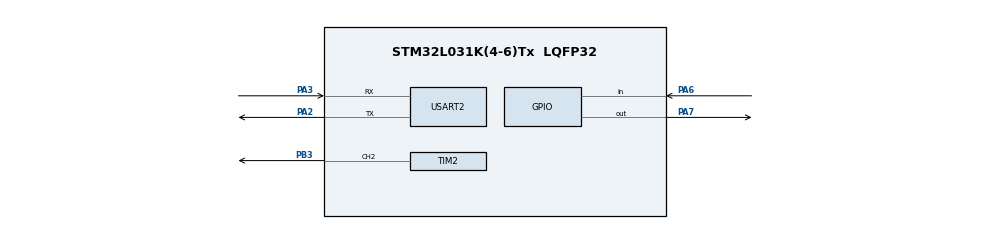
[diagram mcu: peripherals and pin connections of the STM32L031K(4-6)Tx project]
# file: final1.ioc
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Mcu.Family=STM32L0
Mcu.Name=STM32L031K(4-6)Tx
Mcu.Package=LQFP32
NVIC.USART2_IRQn=true\:0\:0\:false\:false\:true\:true\:true\:true
PA2.Mode=Asynchronous
PA2.Signal=USART2_TX
PA3.Mode=Asynchronous
PA3.Signal=USART2_RX
PA6.Signal=GPIO_Input
PA7.Signal=GPIO_Output
PB3.Signal=S_TIM2_CH2
ProjectManager.HeapSize=0x200
ProjectManager.StackSize=0x400
ProjectManager.TargetToolchain=STM32CubeIDE
RCC.AHBFreq_Value=32000000
RCC.APB1Freq_Value=32000000
RCC.APB1TimFreq_Value=32000000
RCC.APB2Freq_Value=32000000
RCC.APB2TimFreq_Value=32000000
RCC.HCLKFreq_Value=32000000
RCC.HSE_VALUE=8000000
RCC.HSI16_VALUE=16000000
RCC.HSI48_VALUE=48000000
RCC.HSI_VALUE=16000000
RCC.MSI_VALUE=2097000
RCC.PLLMUL=RCC_PLLMUL_4
RCC.SYSCLKFreq_VALUE=32000000
RCC.SYSCLKSource=RCC_SYSCLKSOURCE_PLLCLK
RCC.VCOOutputFreq_Value=64000000
SH.S_TIM2_CH2.0=TIM2_CH2,PWM Generation2 CH2
TIM2.Channel-PWM\ Generation2\ CH2=TIM_CHANNEL_2
USART2.VirtualMode-Asynchronous=VM_ASYNC
VP_TIM21_VS_ClockSourceINT.Mode=Internal
board=NUCLEO-L031K6

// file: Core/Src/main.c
/* USER CODE BEGIN Header */
/**
 ******************************************************************************
 * @file           : main.c
 * @brief          : Main program body
 ******************************************************************************
 * @attention
 *
 * Copyright (c) 2024 STMicroelectronics.
 * All rights reserved.
 *
 * This software is licensed under terms that can be found in the LICENSE file
 * in the root directory of this software component.
 * If no LICENSE file comes with this software, it is provided AS-IS.
 *
 ******************************************************************************
 */
/* USER CODE END Header */
#include "main.h"

/* USER CODE BEGIN Includes */
#include <stdio.h>
#include <string.h>
#include <math.h>
#include <stdlib.h>

/* USER CODE END Includes */

TIM_HandleTypeDef htim2;
TIM_HandleTypeDef htim21;

UART_HandleTypeDef huart2;

/* USER CODE BEGIN PV */
#define TRIG_PIN GPIO_PIN_7
#define TRIG_PORT GPIOA
#define ECHO_PIN GPIO_PIN_6
#define ECHO_PORT GPIOA
//#define buzzer_pin GPIO_PIN_5
//#define buzzer_port GPIOA
uint32_t pMillis;
uint32_t Value1 = 0;
uint32_t Value2 = 0;
uint16_t Distance = 0;  // cm
uint16_t raw = 0;
char msg[20];
uint8_t rxData[20];  // Buffer untuk menerima data
uint8_t rxIndex = 0; // Index untuk buffer
uint8_t dataComplete = 0; // Flag untuk data lengkap
uint16_t receivedValue = 0;
uint16_t out;
/* USER CODE END PV */

void SystemClock_Config(void);
static void MX_GPIO_Init(void);
static void MX_USART2_UART_Init(void);
static void MX_TIM21_Init(void);
static void MX_TIM2_Init(void);

int main(void) {

	/* MCU Configuration--------------------------------------------------------*/

	/* Reset of all peripherals, Initializes the Flash interface and the Systick. */
	HAL_Init();

	/* Configure the system clock */
	SystemClock_Config();

	/* Initialize all configured peripherals */
	MX_GPIO_Init();
	MX_USART2_UART_Init();
	MX_TIM21_Init();
	MX_TIM2_Init();
	/* USER CODE BEGIN 2 */
	HAL_TIM_Base_Start(&htim21);
	HAL_UART_Receive_IT(&huart2, &rxData[0], 1);
	HAL_GPIO_WritePin(TRIG_PORT, TRIG_PIN, GPIO_PIN_RESET); // pull the TRIG pin low
	/* USER CODE END 2 */

	/* Infinite loop */
	while (1) {

		/* USER CODE BEGIN 3 */
		HAL_GPIO_WritePin(TRIG_PORT, TRIG_PIN, GPIO_PIN_SET); // pull the TRIG pin HIGH
		__HAL_TIM_SET_COUNTER(&htim21, 0);
		while (__HAL_TIM_GET_COUNTER (&htim21) < 10)
			;  // wait for 10 us
		HAL_GPIO_WritePin(TRIG_PORT, TRIG_PIN, GPIO_PIN_RESET); // pull the TRIG pin low

		pMillis = HAL_GetTick(); // used this to avoid infinite while loop  (for timeout)
		// wait for the echo pin to go high
		while (!(HAL_GPIO_ReadPin(ECHO_PORT, ECHO_PIN))
				&& pMillis + 10 > HAL_GetTick())
			;
		Value1 = __HAL_TIM_GET_COUNTER(&htim21);

		pMillis = HAL_GetTick(); // used this to avoid infinite while loop (for timeout)
		// wait for the echo pin to go low
		while ((HAL_GPIO_ReadPin(ECHO_PORT, ECHO_PIN))
				&& pMillis + 50 > HAL_GetTick())
			;
		Value2 = __HAL_TIM_GET_COUNTER(&htim21);

		//	raw = Value2-Value1;
		Distance = (Value2 - Value1) * 0.32;
		if (Distance < 5) {
			out = 1;
		}
		else {
			out = 0;
		}
		snprintf(msg, sizeof(msg), "%u\n", out);
		HAL_UART_Transmit_IT(&huart2, (uint8_t*) msg, strlen(msg));
		HAL_Delay(5);

	    if (dataComplete) {
	        dataComplete = 0;

	        if (receivedValue == 1) {
	            // When distance is less than 5 cm, send 1
	            HAL_TIM_PWM_Start(&htim2, TIM_CHANNEL_2);
	            __HAL_TIM_SET_AUTORELOAD(&htim2, 5);
	            __HAL_TIM_SET_COMPARE(&htim2, TIM_CHANNEL_2, 5);
	            HAL_Delay(500);
	            HAL_TIM_PWM_Stop(&htim2, TIM_CHANNEL_2);
	        } else {
	            // When distance is greater than 5 cm, send 0
	            HAL_TIM_PWM_Stop(&htim2, TIM_CHANNEL_2);
	        }
	    }

	}
}

	/* USER CODE END 3 */

	/**
	 * @brief System Clock Configuration
	 * @retval None
	 */
	void SystemClock_Config(void) {
		RCC_OscInitTypeDef RCC_OscInitStruct = { 0 };
		RCC_ClkInitTypeDef RCC_ClkInitStruct = { 0 };
		RCC_PeriphCLKInitTypeDef PeriphClkInit = { 0 };

		/** Configure the main internal regulator output voltage
		 */
		__HAL_PWR_VOLTAGESCALING_CONFIG(PWR_REGULATOR_VOLTAGE_SCALE1);

		/** Initializes the RCC Oscillators according to the specified parameters
		 * in the RCC_OscInitTypeDef structure.
		 */
		RCC_OscInitStruct.OscillatorType = RCC_OSCILLATORTYPE_HSI;
		RCC_OscInitStruct.HSIState = RCC_HSI_ON;
		RCC_OscInitStruct.HSICalibrationValue = RCC_HSICALIBRATION_DEFAULT;
		RCC_OscInitStruct.PLL.PLLState = RCC_PLL_ON;
		RCC_OscInitStruct.PLL.PLLSource = RCC_PLLSOURCE_HSI;
		RCC_OscInitStruct.PLL.PLLMUL = RCC_PLLMUL_4;
		RCC_OscInitStruct.PLL.PLLDIV = RCC_PLLDIV_2;
		if (HAL_RCC_OscConfig(&RCC_OscInitStruct) != HAL_OK) {
			Error_Handler();
		}

		/** Initializes the CPU, AHB and APB buses clocks
		 */
		RCC_ClkInitStruct.ClockType = RCC_CLOCKTYPE_HCLK | RCC_CLOCKTYPE_SYSCLK
				| RCC_CLOCKTYPE_PCLK1 | RCC_CLOCKTYPE_PCLK2;
		RCC_ClkInitStruct.SYSCLKSource = RCC_SYSCLKSOURCE_PLLCLK;
		RCC_ClkInitStruct.AHBCLKDivider = RCC_SYSCLK_DIV1;
		RCC_ClkInitStruct.APB1CLKDivider = RCC_HCLK_DIV1;
		RCC_ClkInitStruct.APB2CLKDivider = RCC_HCLK_DIV1;

		if (HAL_RCC_ClockConfig(&RCC_ClkInitStruct, FLASH_LATENCY_1)
				!= HAL_OK) {
			Error_Handler();
		}
		PeriphClkInit.PeriphClockSelection = RCC_PERIPHCLK_USART2;
		PeriphClkInit.Usart2ClockSelection = RCC_USART2CLKSOURCE_PCLK1;
		if (HAL_RCCEx_PeriphCLKConfig(&PeriphClkInit) != HAL_OK) {
			Error_Handler();
		}
	}

	/**
	 * @brief TIM2 Initialization Function
	 * @param None
	 * @retval None
	 */
	static void MX_TIM2_Init(void) {

		TIM_ClockConfigTypeDef sClockSourceConfig = { 0 };
		TIM_MasterConfigTypeDef sMasterConfig = { 0 };
		TIM_OC_InitTypeDef sConfigOC = { 0 };

		htim2.Instance = TIM2;
		htim2.Init.Prescaler = 800 - 1;
		htim2.Init.CounterMode = TIM_COUNTERMODE_UP;
		htim2.Init.Period = 200 - 1;
		htim2.Init.ClockDivision = TIM_CLOCKDIVISION_DIV1;
		htim2.Init.AutoReloadPreload = TIM_AUTORELOAD_PRELOAD_DISABLE;
		if (HAL_TIM_Base_Init(&htim2) != HAL_OK) {
			Error_Handler();
		}
		sClockSourceConfig.ClockSource = TIM_CLOCKSOURCE_INTERNAL;
		if (HAL_TIM_ConfigClockSource(&htim2, &sClockSourceConfig) != HAL_OK) {
			Error_Handler();
		}
		if (HAL_TIM_PWM_Init(&htim2) != HAL_OK) {
			Error_Handler();
		}
		sMasterConfig.MasterOutputTrigger = TIM_TRGO_RESET;
		sMasterConfig.MasterSlaveMode = TIM_MASTERSLAVEMODE_DISABLE;
		if (HAL_TIMEx_MasterConfigSynchronization(&htim2, &sMasterConfig)
				!= HAL_OK) {
			Error_Handler();
		}
		sConfigOC.OCMode = TIM_OCMODE_PWM1;
		sConfigOC.Pulse = 0;
		sConfigOC.OCPolarity = TIM_OCPOLARITY_HIGH;
		sConfigOC.OCFastMode = TIM_OCFAST_DISABLE;
		if (HAL_TIM_PWM_ConfigChannel(&htim2, &sConfigOC, TIM_CHANNEL_2)
				!= HAL_OK) {
			Error_Handler();
		}
		HAL_TIM_MspPostInit(&htim2);

	}

	/**
	 * @brief TIM21 Initialization Function
	 * @param None
	 * @retval None
	 */
	static void MX_TIM21_Init(void) {

		TIM_ClockConfigTypeDef sClockSourceConfig = { 0 };
		TIM_MasterConfigTypeDef sMasterConfig = { 0 };

		htim21.Instance = TIM21;
		htim21.Init.Prescaler = 512 - 1;
		htim21.Init.CounterMode = TIM_COUNTERMODE_UP;
		htim21.Init.Period = 320 - 1;
		htim21.Init.ClockDivision = TIM_CLOCKDIVISION_DIV1;
		htim21.Init.AutoReloadPreload = TIM_AUTORELOAD_PRELOAD_DISABLE;
		if (HAL_TIM_Base_Init(&htim21) != HAL_OK) {
			Error_Handler();
		}
		sClockSourceConfig.ClockSource = TIM_CLOCKSOURCE_INTERNAL;
		if (HAL_TIM_ConfigClockSource(&htim21, &sClockSourceConfig) != HAL_OK) {
			Error_Handler();
		}
		sMasterConfig.MasterOutputTrigger = TIM_TRGO_RESET;
		sMasterConfig.MasterSlaveMode = TIM_MASTERSLAVEMODE_DISABLE;
		if (HAL_TIMEx_MasterConfigSynchronization(&htim21, &sMasterConfig)
				!= HAL_OK) {
			Error_Handler();
		}

	}

	/**
	 * @brief USART2 Initialization Function
	 * @param None
	 * @retval None
	 */
	static void MX_USART2_UART_Init(void) {

		huart2.Instance = USART2;
		huart2.Init.BaudRate = 9600;
		huart2.Init.WordLength = UART_WORDLENGTH_8B;
		huart2.Init.StopBits = UART_STOPBITS_1;
		huart2.Init.Parity = UART_PARITY_NONE;
		huart2.Init.Mode = UART_MODE_TX_RX;
		huart2.Init.HwFlowCtl = UART_HWCONTROL_NONE;
		huart2.Init.OverSampling = UART_OVERSAMPLING_16;
		huart2.Init.OneBitSampling = UART_ONE_BIT_SAMPLE_DISABLE;
		huart2.AdvancedInit.AdvFeatureInit = UART_ADVFEATURE_NO_INIT;
		if (HAL_UART_Init(&huart2) != HAL_OK) {
			Error_Handler();
		}

	}

	/**
	 * @brief GPIO Initialization Function
	 * @param None
	 * @retval None
	 */
	static void MX_GPIO_Init(void) {
		GPIO_InitTypeDef GPIO_InitStruct = { 0 };

		/* GPIO Ports Clock Enable */
		__HAL_RCC_GPIOA_CLK_ENABLE();
		__HAL_RCC_GPIOB_CLK_ENABLE();

		/*Configure GPIO pin Output Level */
		HAL_GPIO_WritePin(GPIOA, GPIO_PIN_7, GPIO_PIN_RESET);

		/*Configure GPIO pin : PA6 */
		GPIO_InitStruct.Pin = GPIO_PIN_6;
		GPIO_InitStruct.Mode = GPIO_MODE_INPUT;
		GPIO_InitStruct.Pull = GPIO_NOPULL;
		HAL_GPIO_Init(GPIOA, &GPIO_InitStruct);

		/*Configure GPIO pin : PA7 */
		GPIO_InitStruct.Pin = GPIO_PIN_7;
		GPIO_InitStruct.Mode = GPIO_MODE_OUTPUT_PP;
		GPIO_InitStruct.Pull = GPIO_NOPULL;
		GPIO_InitStruct.Speed = GPIO_SPEED_FREQ_LOW;
		HAL_GPIO_Init(GPIOA, &GPIO_InitStruct);

	}

	/* USER CODE BEGIN 4 */
	void HAL_UART_RxCpltCallback(UART_HandleTypeDef *huart) {
		if (huart->Instance == USART2) {
			// Proses data yang diterima
//        rxData[rxIndex] = rxData[0];  // Salin byte yang diterima

			if (rxData[rxIndex] == '\n')  // Jika menerima newline
					{
				rxData[rxIndex] = '\0';  // Null terminate string
				receivedValue = atoi((char*) rxData); // Konversi string ke integer
				dataComplete = 1;  // Set flag data complete
				rxIndex = 0;  // Reset index
			} else {
				rxIndex++;
				if (rxIndex >= sizeof(rxData) - 1)
					rxIndex = 0;  // Prevent buffer overflow
			}

			// Mulai menerima byte berikutnya
			HAL_UART_Receive_IT(huart, &rxData[rxIndex], 1);
		}
	}
	/* USER CODE END 4 */

	/**
	 * @brief  This function is executed in case of error occurrence.
	 * @retval None
	 */
	void Error_Handler(void) {
		__disable_irq();
		while (1) {
		}
	}
